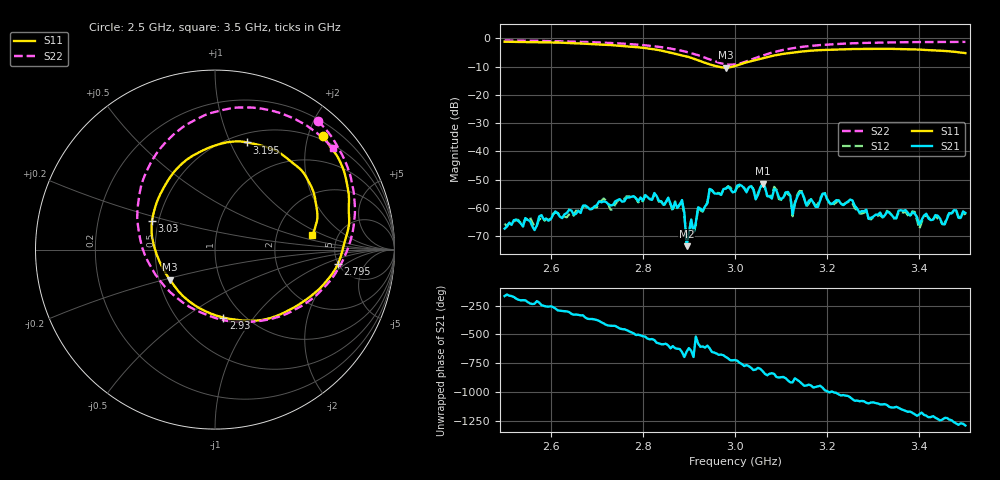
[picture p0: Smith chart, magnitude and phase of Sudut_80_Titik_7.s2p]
# Hz S RI R 50
! CMT, C1220, 16058040, 17.2.0/1
! Date: 15/08/2018 10:07:42
! Data: Format (Calibration Info)
! Freq  S11: Re/Im (F2)  S21: Re/Im (F2)  S12: Re/Im (F2)  S22: Re/Im (F2)
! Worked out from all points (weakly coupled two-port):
!   201 points, 2.5 GHz to 3.5 GHz, reference 50 ohm
!   highest |S21| = -51.43 dB at 3.06 GHz (marker M1); lowest = -73.5 dB at 2.895 GHz (marker M2)
!   lowest |S11| = -10.4 dB at 2.98 GHz (marker M3), VSWR 1.87, Z = 28.5 - j10.6 ohm
!   |S11| at or under -10 dB: 2.964 GHz to 2.995 GHz (31.75 MHz wide, 1.07 % of centre)
!   |S22| runs from -9.3 to -0.7 dB; largest |S21 - S12| = 0.00023
!   S11 on the Smith chart (normalised r, x): 2.5 GHz: 0.43, +2.26; 2.795 GHz: 4.93, -1.53; 2.93 GHz: 0.81, -0.72; 3.03 GHz: 0.46, +0.17; 3.195 GHz: 0.59, +1.16; 3.5 GHz: 3.24, +0.74
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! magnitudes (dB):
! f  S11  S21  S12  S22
! 2.5 GHz  -1.2  -67.3  -65.5  -0.7
! 2.67 GHz  -1.9  -59.2  -59.5  -1.2
! 2.795 GHz  -3.2  -56.3  -57.0  -2.3
! 2.835 GHz  -4.2  -57.5  -57.8  -3.0
! 2.885 GHz  -6.0  -57.2  -57.6  -4.4
! 2.895 GHz  -6.4  -73.5  -71.5  -4.8
! 2.905 GHz  -6.9  -64.1  -64.1  -5.2
! 2.91 GHz  -7.2  -68.6  -69.1  -5.5
! 2.93 GHz  -8.4  -61.0  -61.3  -6.5
! 2.945 GHz  -9.2  -53.3  -53.3  -7.4
! 2.98 GHz  -10.4  -53.1  -53.2  -9.1
! 3 GHz  -9.8  -54.2  -54.3  -9.2
! 3.03 GHz  -8.3  -52.7  -52.5  -7.8
! 3.06 GHz  -7.0  -51.4  -51.8  -6.1
! 3.115 GHz  -5.3  -54.3  -55.1  -3.8
! 3.125 GHz  -5.1  -62.3  -62.9  -3.5
! 3.14 GHz  -4.8  -54.6  -54.0  -3.1
! 3.17 GHz  -4.3  -58.1  -58.1  -2.6
! 3.195 GHz  -4.1  -54.8  -54.8  -2.3
! 3.335 GHz  -3.7  -61.6  -61.6  -1.4
! 3.4 GHz  -4.0  -65.8  -67.4  -1.3
! 3.5 GHz  -5.2  -61.8  -62.4  -1.3
